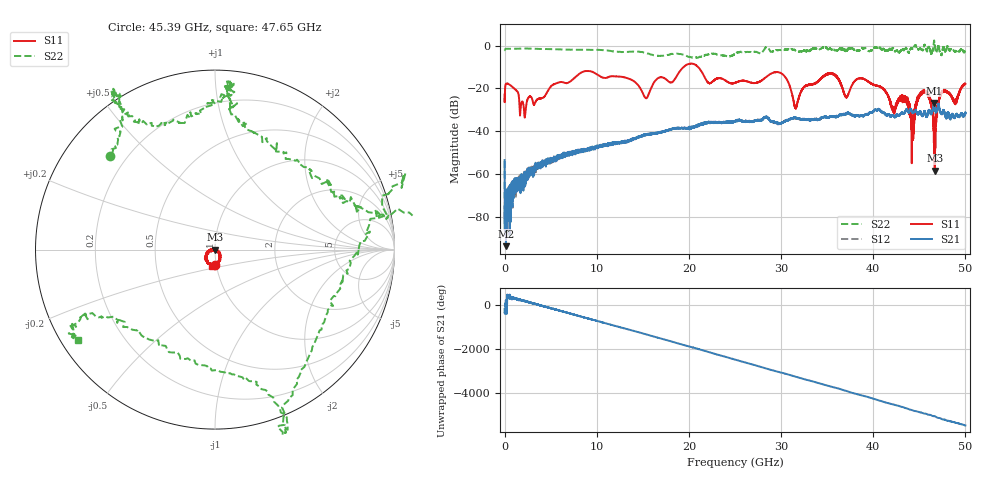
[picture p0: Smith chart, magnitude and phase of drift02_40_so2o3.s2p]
!Created with skrf (http://scikit-rf.org).
# Hz S RI R 50.0
!freq ReS11 ImS11 ReS21 ImS21 ReS12 ImS12 ReS22 ImS22
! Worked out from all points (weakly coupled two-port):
!   10001 points, 300 kHz to 50 GHz, reference 50 ohm
!   highest |S21| = -26.80 dB at 46.61 GHz (marker M1); lowest = -93.7 dB at 145.3 MHz (marker M2)
!   lowest |S11| = -58.4 dB at 46.67 GHz (marker M3), VSWR 1.00, Z = 49.9 - j0.099 ohm
!   |S11| at or under -10 dB: start of sweep to 19.42 GHz; 21.0045 GHz to 21.00654 GHz (2.041 MHz wide, 0.00971 % of centre); 21.01 GHz to end of sweep
!   |S22| runs from -5.7 to 2.4 dB; largest |S21 - S12| = 0.0041
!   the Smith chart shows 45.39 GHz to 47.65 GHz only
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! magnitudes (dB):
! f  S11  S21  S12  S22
! 300 kHz  -22.9  -53.5  -53.9  -2.1
! 145.3 MHz  -17.8  -93.7  -76.8  -1.5
! 2.19 GHz  -33.6  -60.4  -59.3  -1.3
! 8.335 GHz  -12.5  -49.4  -48.7  -1.9
! 15.33 GHz  -24.5  -41.9  -41.6  -3.3
! 16.67 GHz  -15.1  -40.7  -40.9  -4.7
! 20.3 GHz  -8.4  -38.3  -38.3  -5.5
! 25 GHz  -17.4  -35.4  -35.3  -3.9
! 29.84 GHz  -12.6  -36.3  -36.5  -2.0
! 31.59 GHz  -29.0  -33.7  -33.9  -2.4
! 33.34 GHz  -18.0  -34.2  -34.5  -1.6
! 35.59 GHz  -13.3  -33.4  -33.2  -1.6
! 37.1 GHz  -24.2  -31.8  -31.6  -2.2
! 38.76 GHz  -15.3  -32.8  -32.7  -0.9
! 41.67 GHz  -24.0  -32.2  -32.2  -1.9
! 43.53 GHz  -25.3  -30.2  -30.5  -1.2
! 44.25 GHz  -33.1  -31.2  -31.0  -1.5
! 45.72 GHz  -21.4  -32.9  -32.6  -1.1
! 46.61 GHz  -42.9  -26.8  -26.8  2.4
! 46.67 GHz  -58.4  -28.5  -28.4  0.5
! 47.47 GHz  -21.7  -31.8  -31.5  -3.5
! 50 GHz  -17.9  -31.5  -31.5  -2.7
